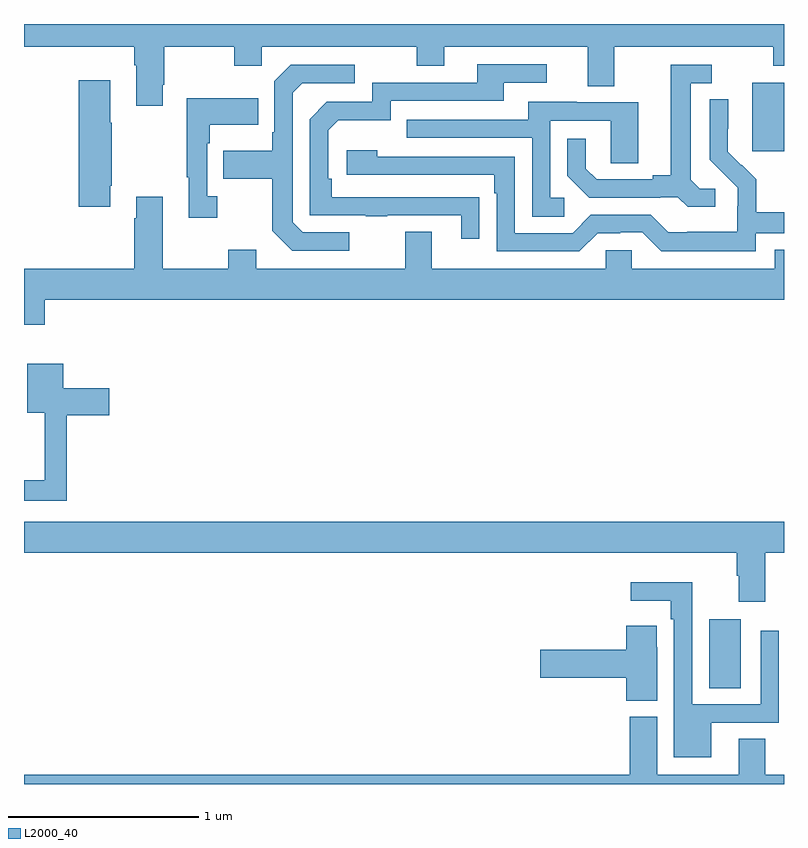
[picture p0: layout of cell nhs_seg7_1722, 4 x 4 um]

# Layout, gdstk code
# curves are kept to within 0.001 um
import gdstk
lib = gdstk.Library(unit=1e-6, precision=1e-09)
def R(c, l, rs):  # rectangles x0, y0, x1, y1
    for r in rs: c.add(gdstk.rectangle(r[:2], r[2:], *l))
def P(c, l, *ps):  # polygons
    for p in ps: c.add(gdstk.Polygon(p, *l))
L2000_40 = (2000, 40)

nhs_seg7_1722 = lib.new_cell('nhs_seg7_1722')
R(nhs_seg7_1722, L2000_40, [(230.606,1066.504,230.773,1066.867), (230.834,1069.329,231,1069.69)])
P(nhs_seg7_1722, L2000_40, [(227.731,1069.681),(227.739,1069.681),(227.739,1069.88),(228.106,1069.88),(228.106,1069.781),(228.252,1069.781),(228.252,1069.88),(229.066,1069.88),(229.066,1069.781),(229.213,1069.781),(229.213,1069.88),(229.967,1069.88),(229.967,1069.672),(230.107,1069.672),(230.107,1069.88),(230.944,1069.88),(230.944,1069.781),(231,1069.781),(231,1070),(227,1070),(227,1069.88),(227.579,1069.88),(227.579,1069.784),(227.591,1069.784),(227.591,1069.569),(227.731,1069.569)],
  [(229.397,1069.088),(228.62,1069.089),(228.62,1069.186),(228.6,1069.186),(228.6,1069.44),(228.653,1069.493),(228.93,1069.493),(228.93,1069.596),(229.525,1069.596),(229.525,1069.692),(229.75,1069.692),(229.75,1069.788),(229.385,1069.788),(229.385,1069.692),(228.834,1069.692),(228.834,1069.59),(228.594,1069.59),(228.504,1069.5),(228.504,1068.993),(228.799,1068.993),(228.799,1068.988),(228.911,1068.988),(228.911,1068.993),(229.301,1068.993),(229.301,1068.87),(229.397,1068.87)],
  [(228.712,1068.903),(228.468,1068.903),(228.414,1068.957),(228.414,1069.638),(228.465,1069.689),(228.742,1069.689),(228.742,1069.785),(228.405,1069.785),(228.318,1069.698),(228.318,1069.429),(228.306,1069.429),(228.306,1069.333),(228.049,1069.333),(228.049,1069.186),(228.306,1069.186),(228.306,1068.913),(228.411,1068.807),(228.712,1068.807)],
  [(230.638,1069.134),(230.556,1069.134),(230.509,1069.181),(230.509,1069.689),(230.62,1069.689),(230.62,1069.785),(230.405,1069.785),(230.405,1069.205),(230.309,1069.205),(230.309,1069.182),(230.014,1069.182),(229.957,1069.239),(229.957,1069.396),(229.86,1069.396),(229.86,1069.202),(229.976,1069.086),(230.348,1069.086),(230.348,1069.089),(230.442,1069.089),(230.494,1069.037),(230.638,1069.037)],
  [(227.455,1069.15),(227.463,1069.15),(227.463,1069.481),(227.455,1069.481),(227.455,1069.705),(227.288,1069.705),(227.288,1069.038),(227.455,1069.038)],
  [(228.016,1069.094),(227.964,1069.094),(227.964,1069.373),(227.977,1069.373),(227.977,1069.469),(228.233,1069.469),(228.233,1069.609),(227.856,1069.609),(227.856,1069.193),(227.867,1069.193),(227.867,1068.981),(228.016,1068.981)],
  [(230.85,1068.9),(231,1068.9),(231,1069.009),(230.855,1069.009),(230.855,1069.183),(230.778,1069.26),(230.775,1069.257),(230.705,1069.328),(230.706,1069.604),(230.61,1069.604),(230.61,1069.286),(230.756,1069.138),(230.756,1069.041),(230.754,1069.041),(230.754,1068.907),(230.491,1068.907),(230.491,1068.903),(230.391,1068.903),(230.298,1068.996),(229.983,1068.996),(229.887,1068.9),(229.584,1068.9),(229.584,1069.302),(228.86,1069.302),(228.86,1069.336),(228.699,1069.336),(228.699,1069.206),(229.475,1069.206),(229.475,1069.109),(229.488,1069.109),(229.488,1068.804),(229.923,1068.804),(230.019,1068.9),(230.138,1068.9),(230.138,1068.903),(230.253,1068.903),(230.353,1068.803),(230.85,1068.803)],
  [(229.843,1069.086),(229.77,1069.086),(229.77,1069.491),(230.088,1069.491),(230.088,1069.267),(230.233,1069.267),(230.233,1069.587),(229.909,1069.587),(229.909,1069.591),(229.655,1069.591),(229.655,1069.497),(229.015,1069.497),(229.015,1069.401),(229.674,1069.401),(229.674,1068.985),(229.843,1068.985)],
  [(227.108,1068.548),(231,1068.548),(231,1068.811),(230.951,1068.811),(230.951,1068.712),(230.199,1068.712),(230.199,1068.81),(230.061,1068.81),(230.061,1068.712),(229.147,1068.712),(229.147,1068.907),(229.007,1068.907),(229.007,1068.712),(228.223,1068.712),(228.223,1068.811),(228.076,1068.811),(228.076,1068.712),(227.731,1068.712),(227.731,1069.09),(227.591,1069.09),(227.591,1068.977),(227.579,1068.977),(227.579,1068.712),(227,1068.712),(227,1068.417),(227.108,1068.417)],
  [(227.225,1067.942),(227.449,1067.942),(227.449,1068.084),(227.206,1068.084),(227.206,1068.211),(227.018,1068.211),(227.018,1067.954),(227.108,1067.954),(227.108,1067.599),(227,1067.599),(227,1067.49),(227.225,1067.49)],
  [(230.902,1067.216),(231,1067.216),(231,1067.38),(227,1067.38),(227,1067.216),(230.75,1067.216),(230.75,1067.096),(230.762,1067.096),(230.762,1066.959),(230.902,1066.959)],
  [(230.617,1066.323),(230.973,1066.323),(230.973,1066.807),(230.877,1066.807),(230.877,1066.419),(230.517,1066.419),(230.517,1067.062),(230.193,1067.062),(230.193,1066.964),(230.405,1066.964),(230.405,1066.868),(230.421,1066.868),(230.421,1066.142),(230.617,1066.142)],
  [(230.332,1066.721),(230.331,1066.721),(230.331,1066.834),(230.171,1066.834),(230.171,1066.706),(229.716,1066.706),(229.716,1066.559),(230.171,1066.559),(230.171,1066.438),(230.332,1066.438)],
  [(231,1066.048),(230.902,1066.048),(230.902,1066.238),(230.762,1066.238),(230.762,1066.048),(230.332,1066.048),(230.332,1066.353),(230.189,1066.353),(230.189,1066.048),(227,1066.048),(227,1066),(231,1066)])

lib.write_gds('nhs_seg7_1722.gds')
